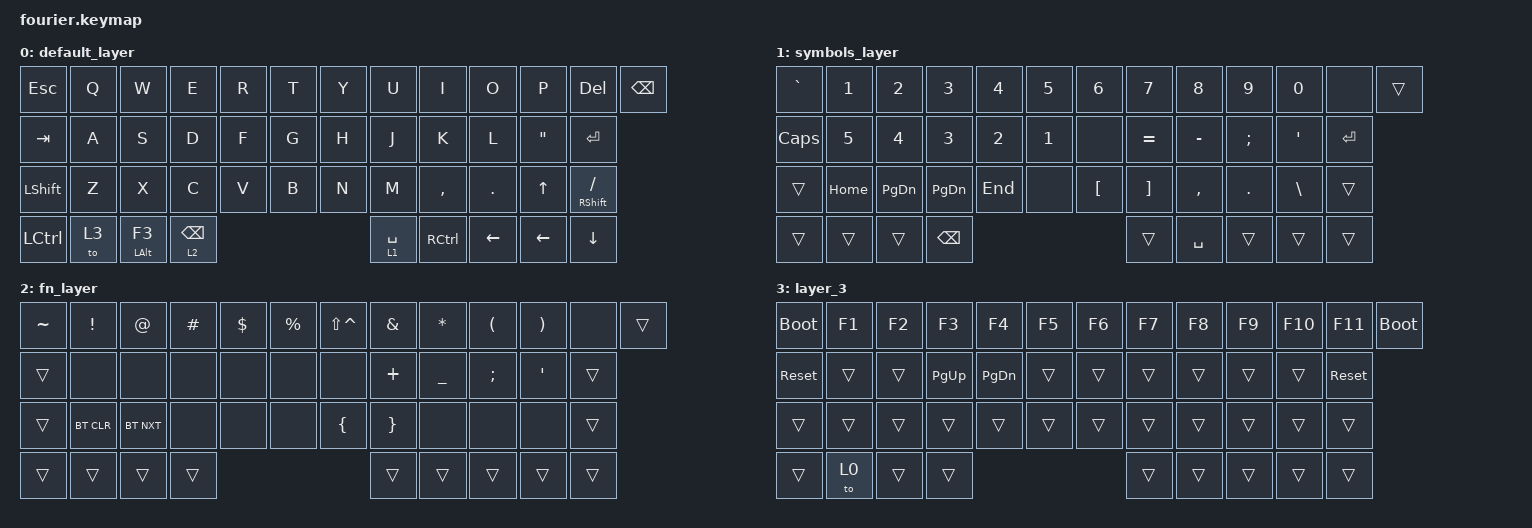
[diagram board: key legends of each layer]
/*
 * Copyright (c) 2021 The ZMK Contributors
 *
 * SPDX-License-Identifier: MIT
 */

#include <behaviors.dtsi>
#include <dt-bindings/zmk/bt.h>
#include <dt-bindings/zmk/keys.h>

/ {
    keymap {
        compatible = "zmk,keymap";

        // -------------------------------------------------------------------------        ---------------------------------------------------------------
        // |    ESC             |  Q        |  W      |  E      | R          |  T  |        |  Y           |  U   | I       |  O     |  P     |    BKSP   |
        // |    TAB             |  A        |  S      |  D      | F          |  G  |        |  H           |  J   | K       |  L     |  ;:    |    ENTER  |
        // |    SHIFT           |  Z        |  X      |  C      | V          |  B  |        |  N           |  M   | ,<      |  .>    |  /?    |    RSHFT  |
        // |    HYPER           |  LCTRL    | LALT    | LGUI    | SPACE/L1   |              | SPACE/L1     | L2   | RGUI    |  RALT  |  RCTRL |
        // -------------------------------------------------------------------------        ----------------------------------------------------------------

        default_layer {
            bindings = <
&kp ESC    &kp Q  &kp W        &kp E            &kp R  &kp T    &kp Y  &kp U        &kp I      &kp O           &kp P              &kp DEL           &kp BACKSPACE
&kp TAB    &kp A  &kp S        &kp D            &kp F  &kp G    &kp H  &kp J        &kp K      &kp L           &kp DOUBLE_QUOTES  &kp ENTER
&kp LSHFT  &kp Z  &kp X        &kp C            &kp V  &kp B    &kp N  &kp M        &kp COMMA  &kp DOT         &kp UP_ARROW       &mt RSHIFT SLASH
&kp LCTRL  &to 3  &mt LALT F3  &lt 2 BACKSPACE                         &lt 1 SPACE  &kp RCTRL  &kp LEFT_ARROW  &kp LEFT           &kp DOWN
            >;
        };

        // -------------------------------------------------------------                    ---------------------------------------------------------------------
        // | trans   |  1      |  2       |  3        |  4      |  5   |                    |  6       |  7       |  8       |  9       |  O          |  trans   |
        // | trans   |  <-     |  v       |  ^        |  ->     |      |                    |          |  '"      |  {[      |  ]}      |  trans      |  trans   |
        // | trans   |  HOME   |  PG_DN   | PG_UP     |  END    |      |                    |          |  `~      |  -_      |  =+      |  \|         |  trans   |
        // | trans   |  trans  |  trans   | trans     | trans   |                           | trans    | trans    | trans    | trans    |trans        |
        // -------------------------------------------------------------                    ----------------------------------------------------------------------

        symbols_layer {
            bindings = <
&kp GRAVE  &kp N1    &kp N2     &kp N3         &kp N4   &kp N5    &kp N6            &kp N7             &kp N8     &kp N9         &kp N0         &none      &trans
&kp CAPS   &kp N5    &kp N4     &kp N3         &kp N2   &kp N1    &none             &kp EQUAL          &kp MINUS  &kp SEMICOLON  &kp SQT        &kp ENTER
&trans     &kp HOME  &kp PG_DN  &kp PG_DN      &kp END  &none     &kp LEFT_BRACKET  &kp RIGHT_BRACKET  &kp COMMA  &kp DOT        &kp BACKSLASH  &trans
&trans     &trans    &trans     &kp BACKSPACE                                       &trans             &kp SPACE  &trans         &trans         &trans
            >;
        };

        // ------------------------------------------------------------                       -----------------------------------------------------
        // | trans  | F1        | F2       |  F3       |  F4    | F5  |                       |  F6     |  F7     |  F8    | F9     | F1O      | trans  |
        // | trans  |           |          |           |        |     |                       |         |         |        | F11    | F12      | trans  |
        // | trans  | BT_CLR    | BT_NXT   |           |        |     |                       |         |         |        |        | trans    |
        // | trans  | trans     | trans    | trans     | trans  |                             | trans   | trans   | trans  | trans  | trans    |
        // ------------------------------------------------------------                       ------------------------------------------------------

        fn_layer {
            bindings = <
&kp TILDE  &kp EXCLAMATION  &kp AT_SIGN  &kp HASH  &kp DOLLAR  &kp PERCENT    &kp LS(CARET)   &kp AMPERSAND    &kp ASTERISK  &kp LEFT_PARENTHESIS  &kp RIGHT_PARENTHESIS  &none   &trans
&trans     &none            &none        &none     &none       &none          &none           &kp PLUS         &kp UNDER     &kp SEMICOLON         &kp SQT                &trans
&trans     &bt BT_CLR       &bt BT_NXT   &none     &none       &none          &kp LEFT_BRACE  &kp RIGHT_BRACE  &none         &none                 &none                  &trans
&trans     &trans           &trans       &trans                                               &trans           &trans        &trans                &trans                 &trans
            >;
        };

        layer_3 {
            bindings = <
&bootloader  &kp F1  &kp F2  &kp F3       &kp F4         &kp F5    &kp F6  &kp F7  &kp F8  &kp F9  &kp F10  &kp F11     &bootloader
&sys_reset   &trans  &trans  &kp PAGE_UP  &kp PAGE_DOWN  &trans    &trans  &trans  &trans  &trans  &trans   &sys_reset
&trans       &trans  &trans  &trans       &trans         &trans    &trans  &trans  &trans  &trans  &trans   &trans
&trans       &to 0   &trans  &trans                                        &trans  &trans  &trans  &trans   &trans
            >;
        };
    };
};
